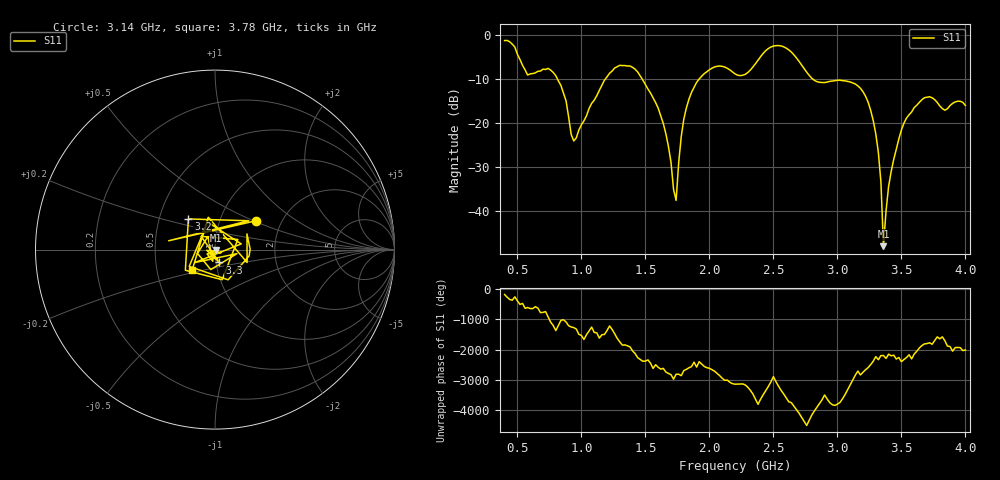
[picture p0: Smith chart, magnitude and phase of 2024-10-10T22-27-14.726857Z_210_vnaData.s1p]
! Created with skrf (http://scikit-rf.org).
# Hz S RI R 50.0
!freq ReS11 ImS11
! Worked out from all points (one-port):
!   181 points, 400 MHz to 4 GHz, reference 50 ohm
!   lowest |S11| = -47.9 dB at 3.36 GHz (marker M1), VSWR 1.01, Z = 50.3 - j0.236 ohm
!   |S11| at or under -10 dB: 812.4 MHz to 1.188 GHz (375.6 MHz wide, 37.6 % of centre); 1.474 GHz to 1.921 GHz (446.7 MHz wide, 26.3 % of centre); 2.806 GHz to end of sweep
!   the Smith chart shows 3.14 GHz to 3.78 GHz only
!   S11 on the Smith chart (normalised r, x): 3.14 GHz: 1.48, +0.51; 3.2 GHz: 0.70, +0.25; 3.3 GHz: 1.04, -0.15; 3.78 GHz: 0.76, -0.18
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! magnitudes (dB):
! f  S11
! 400 MHz  -1.3
! 580 MHz  -9.1
! 740 MHz  -7.6
! 860 MHz  -13.2
! 940 MHz  -24.1
! 1.3 GHz  -6.9
! 1.44 GHz  -8.5
! 1.6 GHz  -16.6
! 1.68 GHz  -25.3
! 1.74 GHz  -37.5
! 1.76 GHz  -29.0
! 1.8 GHz  -19.1
! 1.9 GHz  -10.8
! 2.06 GHz  -7.2
! 2.2 GHz  -8.9
! 2.5 GHz  -2.6
! 2.66 GHz  -4.5
! 2.84 GHz  -10.6
! 3.1 GHz  -10.7
! 3.14 GHz  -11.2
! 3.2 GHz  -12.9
! 3.3 GHz  -22.5
! 3.34 GHz  -33.3
! 3.36 GHz  -47.9
! 3.42 GHz  -31.0
! 3.56 GHz  -18.1
! 3.78 GHz  -15.3
! 4 GHz  -16.0
